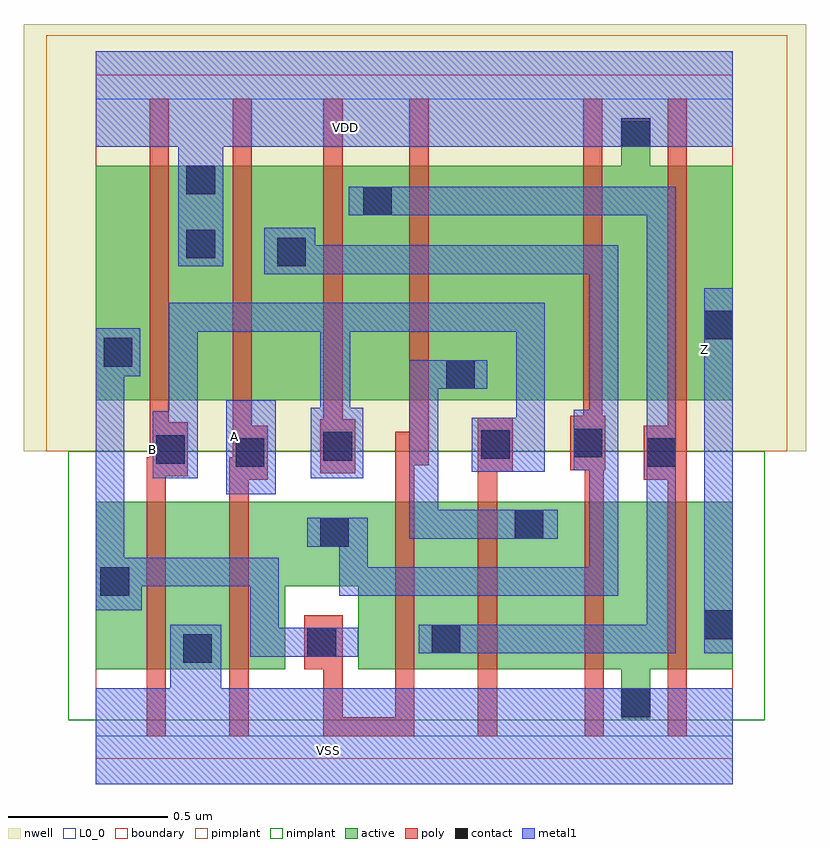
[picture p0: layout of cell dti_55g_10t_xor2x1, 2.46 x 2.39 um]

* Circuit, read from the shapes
.subckt dti_55g_10t_xor2x1 A B VDD VSS Z
M1 VSS B n1 VSUBS nfet w=0.525u l=0.06u
M2 n2 A VSS VSUBS nfet w=0.525u l=0.06u
M3 n3 n1 n2 VSUBS nfet w=0.525u l=0.06u
M4 n4 B n3 VSUBS nfet w=0.525u l=0.06u
M5 VSS n2 n4 VSUBS nfet w=0.525u l=0.06u
M6 Z n3 VSS VSUBS nfet w=0.525u l=0.06u
M7 VDD B n1 n5 pfet w=0.735u l=0.06u
M8 n2 A VDD n5 pfet w=0.735u l=0.06u
M9 n3 B n2 n5 pfet w=0.735u l=0.06u
M10 n4 n1 n3 n5 pfet w=0.735u l=0.06u
M11 VDD n2 n4 n5 pfet w=0.735u l=0.06u
M12 Z n3 VDD n5 pfet w=0.735u l=0.06u
.ends

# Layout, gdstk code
from math import pi, radians
import gdstk
lib = gdstk.Library(unit=1e-6, precision=1e-09)
def R(c, l, rs):  # rectangles x0, y0, x1, y1
    for r in rs: c.add(gdstk.rectangle(r[:2], r[2:], *l))
def P(c, l, *ps):  # polygons
    for p in ps: c.add(gdstk.Polygon(p, *l))
L0_0 = (0, 0)
nwell = (3, 0)
active = (6, 0)
poly = (17, 0)
pimplant = (25, 0)
nimplant = (26, 0)
contact = (30, 0)
metal1 = (31, 0)
boundary = (108, 0)
L923_0 = (923, 0)

template_55g_10t = lib.new_cell('template_55g_10t')
R(template_55g_10t, metal1, [(0,-0.15,0.2,0.15), (0,1.85,0.2,2.15)])
template_55g_10t.add(gdstk.FlexPath([(0.2,0.21),(0,0.21)], 0, ends="flush", simple_path=True, layer=923, datatype=0))  # L923_0
template_55g_10t.add(gdstk.FlexPath([(0.2,0.735),(0,0.735)], 0, ends="flush", simple_path=True, layer=923, datatype=0))  # L923_0
template_55g_10t.add(gdstk.FlexPath([(0.2,0.895),(0,0.895)], 0, ends="flush", simple_path=True, layer=923, datatype=0))  # L923_0
template_55g_10t.add(gdstk.FlexPath([(0.2,1.055),(0,1.055)], 0, ends="flush", simple_path=True, layer=923, datatype=0))  # L923_0
template_55g_10t.add(gdstk.FlexPath([(0.2,1.79),(0,1.79)], 0, ends="flush", simple_path=True, layer=923, datatype=0))  # L923_0

cellgrid_nom2 = lib.new_cell('cellgrid_noM2')
R(cellgrid_nom2, L0_0, [(0,0,0.2,0.2)])
cellgrid_nom2.add(gdstk.FlexPath([(0.2,0),(0,0.2)], 0, ends="flush", simple_path=True, layer=0, datatype=0))  # L0_0
cellgrid_nom2.add(gdstk.FlexPath([(0.2,0.2),(0,0)], 0, ends="flush", simple_path=True, layer=0, datatype=0))  # L0_0

pmos_735_n_2 = lib.new_cell('pmos_735_n_2')
R(pmos_735_n_2, nwell, [(-0.275,-0.16,0.335,0.895)])
R(pmos_735_n_2, active, [(-0.115,0,0.175,0.735)])
R(pmos_735_n_2, poly, [(0,-0.14,0.06,0.875)])
R(pmos_735_n_2, pimplant, [(-0.245,-0.16,0.305,0.895)])

cnt = lib.new_cell('cnt')
R(cnt, contact, [(-0.045,-0.045,0.045,0.045)])
R(cnt, metal1, [(-0.045,-0.045,0.045,0.045)])

nmos_525_n_2 = lib.new_cell('nmos_525_n_2')
R(nmos_525_n_2, active, [(-0.115,0,0.175,0.525)])
R(nmos_525_n_2, poly, [(0,-0.14,0.06,0.665)])
R(nmos_525_n_2, nimplant, [(-0.245,-0.16,0.305,0.685)])

cnt_n = lib.new_cell('cnt_n')
R(cnt_n, active, [(-0.06,-0.075,0.06,0.075)])
R(cnt_n, contact, [(-0.045,-0.045,0.045,0.045)])
R(cnt_n, metal1, [(-0.045,-0.045,0.045,0.045)])

pcnt_v = lib.new_cell('pcnt_v')
R(pcnt_v, poly, [(-0.055,-0.085,0.055,0.085)])
pcnt_v.add(gdstk.Reference(cnt, (0,0)))

dti_55g_10t_xor2x1 = lib.new_cell('dti_55g_10t_xor2x1')
R(dti_55g_10t_xor2x1, nwell, [(-0.225,0.895,2.23,2.235)])
R(dti_55g_10t_xor2x1, active, [(1.65,0.055,1.74,0.21), (0,0.21,0.045,0.735), (1.375,0.21,1.42,0.735), (1.93,0.21,2,0.735), (0.595,0.47,0.885,0.735), (0,1.055,0.055,1.13), (0,1.055,0.06,1.79), (1.16,1.055,1.415,1.79), (1.97,1.055,2,1.79), (0,1.13,0.01,1.28), (1.65,1.79,1.74,1.93)])
R(dti_55g_10t_xor2x1, poly, [(0.16,0,0.22,0.07), (0.42,0,0.48,0.07), (0.715,0,1,0.06), (1.2,0,1.26,0.07), (1.535,0,1.595,0.07), (1.795,0,1.855,0.07), (0.715,0.06,0.775,0.38), (0.94,0.06,1,0.07), (0.94,0.85,1.045,0.955), (0.17,0.875,0.18,0.915), (1.79,0.875,1.815,0.915), (1.83,0.875,1.855,0.915), (0.17,1.93,0.23,2), (0.43,1.93,0.49,2), (0.715,1.93,0.775,2), (0.985,1.93,1.045,2), (1.53,1.93,1.59,2), (1.795,1.93,1.855,2)])
R(dti_55g_10t_xor2x1, pimplant, [(-0.155,0.895,2.17,2.2)])
R(dti_55g_10t_xor2x1, metal1, [(0.235,0.15,0.395,0.35), (0.485,0.25,0.575,0.47), (0.575,0.25,0.825,0.34), (1.015,0.26,1.82,0.35), (1.91,0.26,2,1.405), (1.73,0.35,1.82,0.81), (0,0.395,0.145,0.56), (0.765,0.44,1.55,0.53), (1.55,0.44,1.64,0.835), (0.145,0.47,0.575,0.56), (0.765,0.53,0.855,0.595), (0,0.56,0.09,1.13), (0.665,0.595,0.855,0.685), (0.985,0.62,1.075,1.09), (1.075,0.62,1.29,0.71), (1.29,0.62,1.45,0.71), (0.41,0.76,0.565,1.055), (0.18,0.81,0.32,1.02), (0.675,0.81,0.84,1.03), (1.73,0.81,1.82,1), (1.18,0.83,1.41,1), (1.5,0.835,1.64,1.025), (1.32,1,1.41,1.27), (1.73,1,1.82,1.09), (0.23,1.02,0.32,1.27), (1.55,1.025,1.64,1.45), (0.705,1.03,0.8,1.27), (0.985,1.09,1.23,1.18), (1.73,1.09,1.82,1.725), (0,1.13,0.14,1.28), (0.23,1.27,1.41,1.36), (0.53,1.45,0.69,1.595), (0.69,1.45,1.64,1.54), (0.26,1.475,0.4,1.85), (0.795,1.635,0.96,1.725), (0.96,1.635,1.73,1.725)])
P(dti_55g_10t_xor2x1, metal1, [(1.625,0.15),(1.625,0.15),(1.76,0.15),(1.76,0.15)])
R(dti_55g_10t_xor2x1, boundary, [(0,-0.07,2,2.075)])
r = gdstk.Reference(template_55g_10t, (0,0)); r.repetition = gdstk.Repetition(10, 1, v1=(0.2,0), v2=(0,0)); dti_55g_10t_xor2x1.add(r)
r = gdstk.Reference(cellgrid_nom2, (0,0)); r.repetition = gdstk.Repetition(10, 10, v1=(0.2,0), v2=(0,0.2)); dti_55g_10t_xor2x1.add(r)
dti_55g_10t_xor2x1.add(gdstk.Reference(pmos_735_n_2, (0.17,1.055)))
dti_55g_10t_xor2x1.add(gdstk.Reference(pmos_735_n_2, (0.43,1.055)))
dti_55g_10t_xor2x1.add(gdstk.Reference(pmos_735_n_2, (0.715,1.055)))
dti_55g_10t_xor2x1.add(gdstk.Reference(pmos_735_n_2, (0.985,1.055)))
dti_55g_10t_xor2x1.add(gdstk.Reference(cnt, (0.33,1.745)))
dti_55g_10t_xor2x1.add(gdstk.Reference(cnt, (0.33,1.545)))
dti_55g_10t_xor2x1.add(gdstk.Reference(nmos_525_n_2, (0.16,0.21)))
dti_55g_10t_xor2x1.add(gdstk.Reference(nmos_525_n_2, (0.42,0.21)))
dti_55g_10t_xor2x1.add(gdstk.Reference(nmos_525_n_2, (0.94,0.21)))
dti_55g_10t_xor2x1.add(gdstk.Reference(nmos_525_n_2, (1.2,0.21)))
dti_55g_10t_xor2x1.add(gdstk.Reference(nmos_525_n_2, (1.535,0.21)))
dti_55g_10t_xor2x1.add(gdstk.Reference(nmos_525_n_2, (1.795,0.21)))
dti_55g_10t_xor2x1.add(gdstk.Reference(cnt, (1.695,1.895)))
dti_55g_10t_xor2x1.add(gdstk.Reference(cnt, (1.695,0.105)))
dti_55g_10t_xor2x1.add(gdstk.Reference(cnt_n, (0.32,0.275), rotation=pi/2))
dti_55g_10t_xor2x1.add(gdstk.Reference(cnt_n, (0.07,1.205), rotation=pi))
dti_55g_10t_xor2x1.add(gdstk.Reference(cnt_n, (0.06,0.485), rotation=pi))
dti_55g_10t_xor2x1.add(gdstk.Reference(pcnt_v, (0.71,0.295), rotation=pi))
dti_55g_10t_xor2x1.add(gdstk.Reference(pcnt_v, (0.235,0.9)))
dti_55g_10t_xor2x1.add(gdstk.Reference(pcnt_v, (0.485,0.89)))
dti_55g_10t_xor2x1.add(gdstk.Reference(pcnt_v, (0.76,0.91)))
dti_55g_10t_xor2x1.add(gdstk.Reference(pcnt_v, (1.255,0.915)))
dti_55g_10t_xor2x1.add(gdstk.Reference(cnt, (1.955,1.29)))
dti_55g_10t_xor2x1.add(gdstk.Reference(cnt, (0.885,1.68)))
dti_55g_10t_xor2x1.add(gdstk.Reference(cnt, (0.615,1.52)))
dti_55g_10t_xor2x1.add(gdstk.Reference(cnt, (1.1,0.305)))
dti_55g_10t_xor2x1.add(gdstk.Reference(cnt, (0.75,0.64)))
dti_55g_10t_xor2x1.add(gdstk.Reference(cnt, (1.36,0.665)))
dti_55g_10t_xor2x1.add(gdstk.Reference(cnt, (1.145,1.135)))
dti_55g_10t_xor2x1.add(gdstk.Reference(pmos_735_n_2, (1.53,1.055)))
dti_55g_10t_xor2x1.add(gdstk.Reference(pcnt_v, (1.775,0.89)))
dti_55g_10t_xor2x1.add(gdstk.Reference(cnt, (1.955,0.35), rotation=pi/2))
dti_55g_10t_xor2x1.add(gdstk.Reference(pmos_735_n_2, (1.795,1.055)))
dti_55g_10t_xor2x1.add(gdstk.Reference(pcnt_v, (1.545,0.92), rotation=pi))
dti_55g_10t_xor2x1.add(gdstk.Label('A', (0.435,0.94), layer=131, texttype=0))
dti_55g_10t_xor2x1.add(gdstk.Label('B', (0.18,0.9), layer=131, texttype=0))
dti_55g_10t_xor2x1.add(gdstk.Label('VDD', (0.785,1.91), layer=131, texttype=0))
dti_55g_10t_xor2x1.add(gdstk.Label('VSS', (0.73,-0.045), layer=131, texttype=0))
dti_55g_10t_xor2x1.add(gdstk.Label('Z', (1.91,1.215), layer=131, texttype=0))

lib.write_gds('dti_55g_10t_xor2x1.gds')
